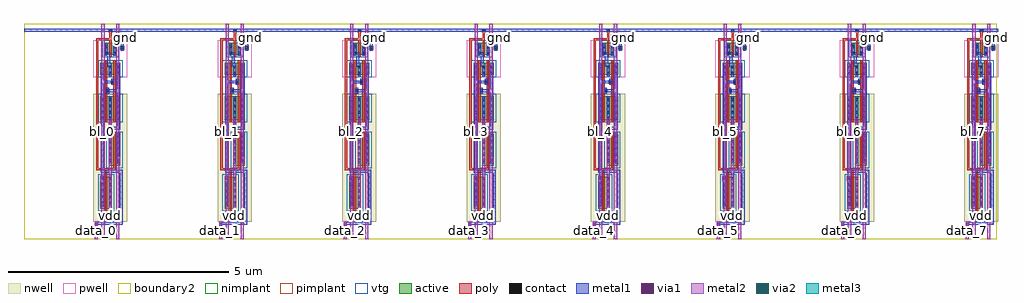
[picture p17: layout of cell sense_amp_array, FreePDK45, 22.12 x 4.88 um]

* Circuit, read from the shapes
.subckt sense_amp_array bl_0 bl_1 bl_2 bl_3 bl_4 bl_5 bl_6 bl_7 br_0 br_1 br_2 br_3 br_4 br_5 br_6 br_7 data_0 data_1 data_2 data_3 data_4 data_5 data_6 data_7 en gnd vdd
M1 n1 n2 data_0 gnd nfet w=0.27u l=0.05u
M2 gnd en n1 gnd nfet w=0.27u l=0.05u
M3 n2 data_0 n1 gnd nfet w=0.27u l=0.05u
M4 n3 n4 data_1 gnd nfet w=0.27u l=0.05u
M5 gnd en n3 gnd nfet w=0.27u l=0.05u
M6 n4 data_1 n3 gnd nfet w=0.27u l=0.05u
M7 n5 n6 data_2 gnd nfet w=0.27u l=0.05u
M8 gnd en n5 gnd nfet w=0.27u l=0.05u
M9 n6 data_2 n5 gnd nfet w=0.27u l=0.05u
M10 n7 n8 data_3 gnd nfet w=0.27u l=0.05u
M11 gnd en n7 gnd nfet w=0.27u l=0.05u
M12 n8 data_3 n7 gnd nfet w=0.27u l=0.05u
M13 n9 n10 data_4 gnd nfet w=0.27u l=0.05u
M14 gnd en n9 gnd nfet w=0.27u l=0.05u
M15 n10 data_4 n9 gnd nfet w=0.27u l=0.05u
M16 n11 n12 data_5 gnd nfet w=0.27u l=0.05u
M17 gnd en n11 gnd nfet w=0.27u l=0.05u
M18 n12 data_5 n11 gnd nfet w=0.27u l=0.05u
M19 n13 n14 data_6 gnd nfet w=0.27u l=0.05u
M20 gnd en n13 gnd nfet w=0.27u l=0.05u
M21 n14 data_6 n13 gnd nfet w=0.27u l=0.05u
M22 n15 n16 data_7 gnd nfet w=0.27u l=0.05u
M23 gnd en n15 gnd nfet w=0.27u l=0.05u
M24 n16 data_7 n15 gnd nfet w=0.27u l=0.05u
M25 data_0 en bl_0 vdd pfet w=0.72u l=0.05u
M26 vdd n2 data_0 vdd pfet w=0.54u l=0.05u
M27 br_0 en n2 vdd pfet w=0.72u l=0.05u
M28 n2 data_0 vdd vdd pfet w=0.54u l=0.05u
M29 data_1 en bl_1 vdd pfet w=0.72u l=0.05u
M30 vdd n4 data_1 vdd pfet w=0.54u l=0.05u
M31 br_1 en n4 vdd pfet w=0.72u l=0.05u
M32 n4 data_1 vdd vdd pfet w=0.54u l=0.05u
M33 data_2 en bl_2 vdd pfet w=0.72u l=0.05u
M34 vdd n6 data_2 vdd pfet w=0.54u l=0.05u
M35 br_2 en n6 vdd pfet w=0.72u l=0.05u
M36 n6 data_2 vdd vdd pfet w=0.54u l=0.05u
M37 data_3 en bl_3 vdd pfet w=0.72u l=0.05u
M38 vdd n8 data_3 vdd pfet w=0.54u l=0.05u
M39 br_3 en n8 vdd pfet w=0.72u l=0.05u
M40 n8 data_3 vdd vdd pfet w=0.54u l=0.05u
M41 data_4 en bl_4 vdd pfet w=0.72u l=0.05u
M42 vdd n10 data_4 vdd pfet w=0.54u l=0.05u
M43 br_4 en n10 vdd pfet w=0.72u l=0.05u
M44 n10 data_4 vdd vdd pfet w=0.54u l=0.05u
M45 data_5 en bl_5 vdd pfet w=0.72u l=0.05u
M46 vdd n12 data_5 vdd pfet w=0.54u l=0.05u
M47 br_5 en n12 vdd pfet w=0.72u l=0.05u
M48 n12 data_5 vdd vdd pfet w=0.54u l=0.05u
M49 data_6 en bl_6 vdd pfet w=0.72u l=0.05u
M50 vdd n14 data_6 vdd pfet w=0.54u l=0.05u
M51 br_6 en n14 vdd pfet w=0.72u l=0.05u
M52 n14 data_6 vdd vdd pfet w=0.54u l=0.05u
M53 data_7 en bl_7 vdd pfet w=0.72u l=0.05u
M54 vdd n16 data_7 vdd pfet w=0.54u l=0.05u
M55 br_7 en n16 vdd pfet w=0.72u l=0.05u
M56 n16 data_7 vdd vdd pfet w=0.54u l=0.05u
.ends

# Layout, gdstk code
import gdstk
lib = gdstk.Library(unit=1e-6, precision=5e-10)
def R(c, l, rs):  # rectangles x0, y0, x1, y1
    for r in rs: c.add(gdstk.rectangle(r[:2], r[2:], *l))
def A(c, l, x, y, w, h, nx, ny, dx, dy):  # array of equal rectangles
    R(c, l, [(x+i*dx, y+j*dy, x+i*dx+w, y+j*dy+h) for i in range(nx) for j in range(ny)])
active = (1, 0)
pwell = (2, 0)
nwell = (3, 0)
nimplant = (4, 0)
pimplant = (5, 0)
vtg = (6, 0)
poly = (9, 0)
contact = (10, 0)
metal1 = (11, 0)
via1 = (12, 0)
metal2 = (13, 0)
via2 = (14, 0)
metal3 = (15, 0)
boundary2 = (239, 0)

sense_amp = lib.new_cell('sense_amp')
R(sense_amp, active, [(0.3075,0.455,0.3975,0.545), (0.1275,0.695,0.3875,1.415), (0.1275,0.695,0.2025,1.415), (0.1275,0.695,0.2025,1.415), (0.3125,0.695,0.3875,1.415), (0.3125,0.695,0.3875,1.415), (0.1275,0.78,0.2025,1.415), (0.3125,0.78,0.3875,1.415), (0.3175,1.665,0.5775,2.385), (0.3175,1.665,0.3925,2.385), (0.3175,1.665,0.3925,2.385), (0.5025,1.665,0.5775,2.385), (0.5025,1.665,0.5775,2.385), (0.3175,1.75,0.3925,2.385), (0.5025,1.75,0.5775,2.385), (0.1275,2.7025,0.2025,3.1975), (0.1275,2.7025,0.3875,3.2425), (0.1275,2.7025,0.2025,3.2425), (0.1275,2.7025,0.2025,3.2425), (0.3125,2.7025,0.3875,3.1975), (0.3125,2.7025,0.3875,3.2425), (0.3125,2.7025,0.3875,3.2425), (0.3175,2.7025,0.3925,3.1975), (0.3175,2.7025,0.5775,3.2425), (0.3175,2.7025,0.3925,3.2425), (0.3175,2.7025,0.3925,3.2425), (0.5025,2.7025,0.5775,3.1975), (0.5025,2.7025,0.5775,3.2425), (0.5025,2.7025,0.5775,3.2425), (0.1275,3.7275,0.2025,3.9425), (0.1275,3.7275,0.3875,3.9975), (0.1275,3.7275,0.2025,3.9975), (0.1275,3.7275,0.2025,3.9975), (0.3125,3.7275,0.3875,3.9425), (0.3125,3.7275,0.3875,3.9975), (0.3125,3.7275,0.3875,3.9975), (0.3175,3.7275,0.3925,3.9425), (0.3175,3.7275,0.5775,3.9975), (0.3175,3.7275,0.3925,3.9975), (0.3175,3.7275,0.3925,3.9975), (0.5025,3.7275,0.5775,3.9425), (0.5025,3.7275,0.5775,3.9975), (0.5025,3.7275,0.5775,3.9975), (0.2275,4.185,0.3025,4.4), (0.2275,4.185,0.4875,4.455), (0.2275,4.185,0.3025,4.455), (0.2275,4.185,0.3025,4.455), (0.4125,4.185,0.4875,4.4), (0.4125,4.185,0.4875,4.455), (0.4125,4.185,0.4875,4.455), (0.58,4.295,0.67,4.385)])
R(sense_amp, pwell, [(-0.035,3.6725,0.74,4.51), (0.0725,3.6725,0.4425,4.0525), (0.2625,3.6725,0.6325,4.0525), (0.1725,4.13,0.5425,4.51), (0.525,4.24,0.725,4.44)])
R(sense_amp, nwell, [(-0.035,0.4,0.74,3.2975), (0.2525,0.4,0.4525,0.6), (0.0725,0.64,0.4425,1.47), (0.2625,1.61,0.6325,2.44), (0.0725,2.6475,0.4425,3.2975), (0.2625,2.6475,0.6325,3.2975)])
R(sense_amp, nimplant, [(0.3075,0.455,0.3975,0.545), (0.1275,3.7275,0.3875,3.9975), (0.3175,3.7275,0.5775,3.9975), (0.2275,4.185,0.4875,4.455)])
R(sense_amp, pimplant, [(0.1275,0.695,0.3875,1.415), (0.3175,1.665,0.5775,2.385), (0.1275,2.7025,0.3875,3.2425), (0.3175,2.7025,0.5775,3.2425), (0.58,4.295,0.67,4.385)])
R(sense_amp, vtg, [(0.0725,0.64,0.4425,1.47), (0.2625,1.61,0.6325,2.44), (0.0725,2.6475,0.4425,3.2975), (0.2625,2.6475,0.6325,3.2975), (0.0725,3.6725,0.4425,4.0525), (0.2625,3.6725,0.6325,4.0525), (0.1725,4.13,0.5425,4.51)])
R(sense_amp, poly, [(0.2325,0.64,0.2825,0.695), (0.2325,0.64,0.2825,1.47), (0.2325,1.415,0.2825,1.47), (0.2325,1.47,0.2825,1.56), (0.0275,1.56,0.4725,1.61), (0.0275,1.61,0.0775,4.51), (0.4225,1.61,0.4725,1.665), (0.4225,1.61,0.4725,2.44), (0.4225,2.385,0.4725,2.44), (0.2325,2.6475,0.2825,2.7025), (0.2325,2.6475,0.2825,3.2975), (0.4225,2.6475,0.4725,2.7025), (0.4225,2.6475,0.4725,3.2975), (0.2325,2.915,0.2825,3.6725), (0.4225,2.915,0.4725,3.6725), (0.2325,3.2425,0.2825,3.2975), (0.4225,3.2425,0.4725,3.2975), (0.2575,3.3275,0.3325,3.4025), (0.3725,3.5275,0.4475,3.6025), (0.2325,3.6725,0.2825,3.7275), (0.2325,3.6725,0.2825,4.0525), (0.4225,3.6725,0.4725,3.7275), (0.4225,3.6725,0.4725,4.0525), (0.2325,3.9975,0.2825,4.0525), (0.4225,3.9975,0.4725,4.0525), (0.3325,4.13,0.3825,4.185), (0.3325,4.13,0.3825,4.51), (0.3325,4.455,0.3825,4.51), (0.0275,4.51,0.3825,4.56), (0.3325,4.56,0.3825,4.765), (0.32,4.6975,0.395,4.7725)])
A(sense_amp, contact, 0.1325, 0.785, 0.065, 0.065, 1, 5, 0, 0.14)
A(sense_amp, contact, 0.3175, 0.785, 0.065, 0.065, 1, 5, 0, 0.14)
A(sense_amp, contact, 0.3225, 1.755, 0.065, 0.065, 1, 5, 0, 0.14)
A(sense_amp, contact, 0.5075, 1.755, 0.065, 0.065, 1, 5, 0, 0.14)
A(sense_amp, contact, 0.1325, 2.7075, 0.065, 0.065, 1, 4, 0, 0.14)
A(sense_amp, contact, 0.5075, 2.7075, 0.065, 0.065, 1, 4, 0, 0.14)
R(sense_amp, contact, [(0.32,0.4675,0.385,0.5325), (0.32,2.7075,0.385,2.7725), (0.32,2.7075,0.385,2.7725), (0.32,2.8475,0.385,2.9125), (0.32,2.8475,0.385,2.9125), (0.32,2.9875,0.385,3.0525), (0.32,2.9875,0.385,3.0525), (0.32,3.1275,0.385,3.1925), (0.32,3.1275,0.385,3.1925), (0.2625,3.3325,0.3275,3.3975), (0.3775,3.5325,0.4425,3.5975), (0.1325,3.7325,0.1975,3.7975), (0.3225,3.7325,0.3875,3.7975), (0.3225,3.7325,0.3875,3.7975), (0.5075,3.7325,0.5725,3.7975), (0.1325,3.8725,0.1975,3.9375), (0.32,3.8725,0.385,3.9375), (0.32,3.8725,0.385,3.9375), (0.5075,3.8725,0.5725,3.9375), (0.2325,4.19,0.2975,4.255), (0.4175,4.19,0.4825,4.255), (0.5925,4.3075,0.6575,4.3725), (0.2325,4.33,0.2975,4.395), (0.4175,4.33,0.4825,4.395), (0.325,4.7025,0.39,4.7675)])
R(sense_amp, metal1, [(0.0025,0.2625,0.0675,0.3975), (0.0025,0.3275,0.63,0.3975), (0.565,0.3275,0.63,1.575), (0.285,0.4675,0.42,0.5325), (0.32,0.4675,0.385,0.6025), (0.1325,0.75,0.1975,1.445), (0.3175,0.75,0.3825,1.445), (0.1275,1.31,0.1925,1.445), (0.32,1.3775,0.385,1.575), (0.1325,1.51,0.63,1.575), (0.1325,1.575,0.1975,2.6725), (0.3225,1.72,0.3875,2.415), (0.5075,1.72,0.5725,2.415), (0.51,1.72,0.575,1.855), (0.3225,2.35,0.3875,2.545), (0.3225,2.48,0.5725,2.545), (0.5075,2.48,0.5725,2.675), (0.32,2.61,0.385,2.745), (0.1325,2.6725,0.1975,3.2275), (0.3175,2.6725,0.3825,3.2275), (0.3225,2.6725,0.3875,3.2275), (0.5075,2.6725,0.5725,3.2275), (0.1325,2.835,0.1975,3.7025), (0.5075,2.835,0.5725,3.6975), (0.2625,3.2975,0.3275,3.4325), (0.2825,3.3325,0.5725,3.3975), (0.3775,3.4975,0.4425,3.6325), (0.1325,3.5325,0.4225,3.5975), (0.1325,3.6975,0.1975,3.9725), (0.3175,3.6975,0.3825,3.9725), (0.3225,3.6975,0.3875,3.9725), (0.5075,3.6975,0.5725,3.9725), (0.2825,3.915,0.3525,4.2425), (0.2325,4.155,0.2975,4.43), (0.4175,4.155,0.4825,4.43), (0.5925,4.2725,0.6575,4.4075), (0.5925,4.4075,0.6575,4.6375), (0.4175,4.42,0.4825,4.5725), (0.6575,4.5025,0.6725,4.5725), (0.6725,4.5025,0.7375,4.6375), (0.4175,4.5725,0.74,4.6375), (-0.035,4.7025,0.74,4.7675), (-0.035,4.7025,0.74,4.7675), (-0.035,4.7025,0.74,4.7675), (0.23,4.7025,0.295,4.7675), (0.29,4.7025,0.425,4.7675)])
R(sense_amp, via1, [(0.0025,0.2975,0.0675,0.3625), (0.32,0.5025,0.385,0.5675), (0.1275,1.345,0.1925,1.41), (0.51,1.755,0.575,1.82), (0.32,2.645,0.385,2.71), (0.6725,4.5375,0.7375,4.6025)])
R(sense_amp, metal2, [(0,0,0.07,0.3975), (0,0,0.07,0.3975), (0,0,0.07,0.3975), (0.15,0,0.22,4.885), (0.15,0,0.22,4.885), (0.15,0,0.22,4.885), (0.485,0,0.555,4.885), (0.485,0,0.555,4.885), (0.485,0,0.555,4.885), (0.3175,0.4675,0.3875,0.6025), (0.3175,0.4675,0.3875,0.6025), (0.3175,0.4675,0.3875,0.6025), (0.3175,0.6,0.3875,2.61), (0.125,1.31,0.195,1.445), (0.5075,1.72,0.5775,1.855), (0.3175,2.61,0.3875,2.745), (0.67,4.5025,0.74,4.6375), (0.67,4.5025,0.74,4.6375), (0.67,4.5025,0.74,4.6375)])
R(sense_amp, boundary2, [(0,0,0.705,4.885)])
sense_amp.add(gdstk.Label('dout', (0.0345,0.023), layer=13, texttype=0))
sense_amp.add(gdstk.Label('gnd', (0.7025,4.61), layer=13, texttype=0))
sense_amp.add(gdstk.Label('br', (0.52,0.023), layer=13, texttype=0))
sense_amp.add(gdstk.Label('bl', (0.19,0.03), layer=13, texttype=0))
sense_amp.add(gdstk.Label('vdd', (0.3525,0.505), layer=13, texttype=0))
sense_amp.add(gdstk.Label('bl', (0.185,2.4425), layer=13, texttype=0))
sense_amp.add(gdstk.Label('br', (0.52,2.4425), layer=13, texttype=0))
sense_amp.add(gdstk.Label('dout', (0.035,0.199), layer=13, texttype=0))
sense_amp.add(gdstk.Label('vdd', (0.3525,0.535), layer=13, texttype=0))
sense_amp.add(gdstk.Label('gnd', (0.705,4.57), layer=13, texttype=0))
sense_amp.add(gdstk.Label('en', (0.258,4.735), layer=11, texttype=0))
sense_amp.add(gdstk.Label('en', (0.3525,4.735), layer=11, texttype=0))

contact_7 = lib.new_cell('contact_7')
R(contact_7, metal2, [(0.035,0,0.105,0.14)])
R(contact_7, via2, [(0.035,0.035,0.105,0.105)])
R(contact_7, metal3, [(0,0.035,0.14,0.105)])
R(contact_7, boundary2, [(0,0,0.14,0.14)])

sense_amp_array = lib.new_cell('sense_amp_array')
A(sense_amp_array, metal1, 1.925, 4.7025, 0.065, 0.065, 8, 1, 2.82, 0)
R(sense_amp_array, metal1, [(0,4.7025,22.05,4.7675)])
A(sense_amp_array, metal2, 1.605, 0, 0.07, 0.3975, 8, 1, 2.82, 0)
R(sense_amp_array, metal2, [(1.755,0,1.825,4.885), (2.09,0,2.16,4.885), (4.575,0,4.645,4.885), (4.91,0,4.98,4.885), (7.395,0,7.465,4.885), (7.73,0,7.8,4.885), (10.215,0,10.285,4.885), (10.55,0,10.62,4.885), (13.035,0,13.105,4.885), (13.37,0,13.44,4.885), (15.855,0,15.925,4.885), (16.19,0,16.26,4.885), (18.675,0,18.745,4.885), (19.01,0,19.08,4.885), (21.495,0,21.565,4.885), (21.83,0,21.9,4.885)])
A(sense_amp_array, metal3, 1.8875, 0.465, 0.14, 0.14, 8, 1, 2.82, 0)
A(sense_amp_array, metal3, 2.24, 4.5, 0.14, 0.14, 8, 1, 2.82, 0)
R(sense_amp_array, boundary2, [(0,0,22.05,4.885)])
sense_amp_array.add(gdstk.Reference(sense_amp, (1.605,0)))
sense_amp_array.add(gdstk.Reference(sense_amp, (4.425,0)))
sense_amp_array.add(gdstk.Reference(sense_amp, (7.245,0)))
sense_amp_array.add(gdstk.Reference(sense_amp, (10.065,0)))
sense_amp_array.add(gdstk.Reference(sense_amp, (12.885,0)))
sense_amp_array.add(gdstk.Reference(sense_amp, (15.705,0)))
sense_amp_array.add(gdstk.Reference(sense_amp, (18.525,0)))
sense_amp_array.add(gdstk.Reference(sense_amp, (21.345,0)))
sense_amp_array.add(gdstk.Reference(contact_7, (2.24,4.5)))
sense_amp_array.add(gdstk.Reference(contact_7, (1.8875,0.465)))
sense_amp_array.add(gdstk.Reference(contact_7, (5.06,4.5)))
sense_amp_array.add(gdstk.Reference(contact_7, (4.7075,0.465)))
sense_amp_array.add(gdstk.Reference(contact_7, (7.88,4.5)))
sense_amp_array.add(gdstk.Reference(contact_7, (7.5275,0.465)))
sense_amp_array.add(gdstk.Reference(contact_7, (10.7,4.5)))
sense_amp_array.add(gdstk.Reference(contact_7, (10.3475,0.465)))
sense_amp_array.add(gdstk.Reference(contact_7, (13.52,4.5)))
sense_amp_array.add(gdstk.Reference(contact_7, (13.1675,0.465)))
sense_amp_array.add(gdstk.Reference(contact_7, (16.34,4.5)))
sense_amp_array.add(gdstk.Reference(contact_7, (15.9875,0.465)))
sense_amp_array.add(gdstk.Reference(contact_7, (19.16,4.5)))
sense_amp_array.add(gdstk.Reference(contact_7, (18.8075,0.465)))
sense_amp_array.add(gdstk.Reference(contact_7, (21.98,4.5)))
sense_amp_array.add(gdstk.Reference(contact_7, (21.6275,0.465)))
sense_amp_array.add(gdstk.Label('bl_0', (1.79,2.4425), layer=13, texttype=0))
sense_amp_array.add(gdstk.Label('br_0', (2.125,2.4425), layer=13, texttype=0))
sense_amp_array.add(gdstk.Label('data_0', (1.64,0.199), layer=13, texttype=0))
sense_amp_array.add(gdstk.Label('bl_1', (4.61,2.4425), layer=13, texttype=0))
sense_amp_array.add(gdstk.Label('br_1', (4.945,2.4425), layer=13, texttype=0))
sense_amp_array.add(gdstk.Label('data_1', (4.46,0.199), layer=13, texttype=0))
sense_amp_array.add(gdstk.Label('bl_2', (7.43,2.4425), layer=13, texttype=0))
sense_amp_array.add(gdstk.Label('br_2', (7.765,2.4425), layer=13, texttype=0))
sense_amp_array.add(gdstk.Label('data_2', (7.28,0.199), layer=13, texttype=0))
sense_amp_array.add(gdstk.Label('bl_3', (10.25,2.4425), layer=13, texttype=0))
sense_amp_array.add(gdstk.Label('br_3', (10.585,2.4425), layer=13, texttype=0))
sense_amp_array.add(gdstk.Label('data_3', (10.1,0.199), layer=13, texttype=0))
sense_amp_array.add(gdstk.Label('bl_4', (13.07,2.4425), layer=13, texttype=0))
sense_amp_array.add(gdstk.Label('br_4', (13.405,2.4425), layer=13, texttype=0))
sense_amp_array.add(gdstk.Label('data_4', (12.92,0.199), layer=13, texttype=0))
sense_amp_array.add(gdstk.Label('bl_5', (15.89,2.4425), layer=13, texttype=0))
sense_amp_array.add(gdstk.Label('br_5', (16.225,2.4425), layer=13, texttype=0))
sense_amp_array.add(gdstk.Label('data_5', (15.74,0.199), layer=13, texttype=0))
sense_amp_array.add(gdstk.Label('bl_6', (18.71,2.4425), layer=13, texttype=0))
sense_amp_array.add(gdstk.Label('br_6', (19.045,2.4425), layer=13, texttype=0))
sense_amp_array.add(gdstk.Label('data_6', (18.56,0.199), layer=13, texttype=0))
sense_amp_array.add(gdstk.Label('bl_7', (21.53,2.4425), layer=13, texttype=0))
sense_amp_array.add(gdstk.Label('br_7', (21.865,2.4425), layer=13, texttype=0))
sense_amp_array.add(gdstk.Label('data_7', (21.38,0.199), layer=13, texttype=0))
sense_amp_array.add(gdstk.Label('gnd', (2.31,4.57), layer=15, texttype=0))
sense_amp_array.add(gdstk.Label('gnd', (16.41,4.57), layer=15, texttype=0))
sense_amp_array.add(gdstk.Label('gnd', (7.95,4.57), layer=15, texttype=0))
sense_amp_array.add(gdstk.Label('gnd', (10.77,4.57), layer=15, texttype=0))
sense_amp_array.add(gdstk.Label('gnd', (13.59,4.57), layer=15, texttype=0))
sense_amp_array.add(gdstk.Label('gnd', (22.05,4.57), layer=15, texttype=0))
sense_amp_array.add(gdstk.Label('gnd', (19.23,4.57), layer=15, texttype=0))
sense_amp_array.add(gdstk.Label('gnd', (5.13,4.57), layer=15, texttype=0))
sense_amp_array.add(gdstk.Label('vdd', (7.5975,0.535), layer=15, texttype=0))
sense_amp_array.add(gdstk.Label('vdd', (10.4175,0.535), layer=15, texttype=0))
sense_amp_array.add(gdstk.Label('vdd', (13.2375,0.535), layer=15, texttype=0))
sense_amp_array.add(gdstk.Label('vdd', (18.8775,0.535), layer=15, texttype=0))
sense_amp_array.add(gdstk.Label('vdd', (16.0575,0.535), layer=15, texttype=0))
sense_amp_array.add(gdstk.Label('vdd', (21.6975,0.535), layer=15, texttype=0))
sense_amp_array.add(gdstk.Label('vdd', (4.7775,0.535), layer=15, texttype=0))
sense_amp_array.add(gdstk.Label('vdd', (1.9575,0.535), layer=15, texttype=0))
sense_amp_array.add(gdstk.Label('en', (11.025,4.735), layer=11, texttype=0))

lib.write_gds('sense_amp_array.gds')
